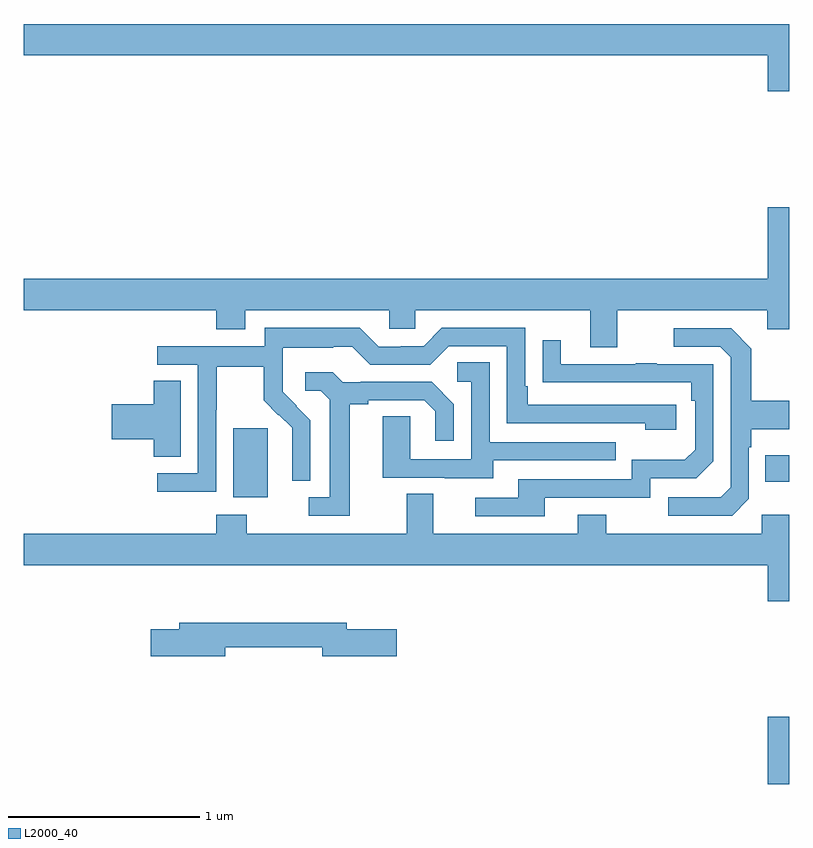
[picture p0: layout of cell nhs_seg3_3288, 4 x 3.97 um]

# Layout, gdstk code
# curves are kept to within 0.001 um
import gdstk
lib = gdstk.Library(unit=1e-6, precision=1e-09)
def R(c, l, rs):  # rectangles x0, y0, x1, y1
    for r in rs: c.add(gdstk.rectangle(r[:2], r[2:], *l))
def P(c, l, *ps):  # polygons
    for p in ps: c.add(gdstk.Polygon(p, *l))
L2000_40 = (2000, 40)

nhs_seg3_3288 = lib.new_cell('nhs_seg3_3288')
R(nhs_seg3_3288, L2000_40, [(284.888,738.4,285,738.751), (282.095,739.898,282.274,740.259), (284.875,739.979,285,740.119)])
P(nhs_seg3_3288, L2000_40, [(285,742.372),(281,742.372),(281,742.208),(284.888,742.208),(284.888,742.02),(285,742.02)],
  [(284.101,740.876),(284.885,740.876),(284.885,740.777),(285,740.777),(285,741.415),(284.888,741.415),(284.888,741.04),(281,741.04),(281,740.876),(282.005,740.876),(282.005,740.777),(282.157,740.777),(282.157,740.876),(282.909,740.876),(282.909,740.778),(283.047,740.778),(283.047,740.876),(283.961,740.876),(283.961,740.682),(284.101,740.682)],
  [(282.006,740.356),(282.009,740.356),(282.009,740.58),(282.253,740.58),(282.253,740.405),(282.33,740.328),(282.333,740.331),(282.404,740.261),(282.404,740.138),(282.402,740.138),(282.402,739.984),(282.498,739.984),(282.498,740.302),(282.352,740.45),(282.352,740.547),(282.354,740.547),(282.354,740.681),(282.617,740.681),(282.617,740.685),(282.717,740.685),(282.81,740.592),(283.125,740.592),(283.221,740.688),(283.524,740.688),(283.524,740.286),(284.249,740.286),(284.249,740.252),(284.41,740.252),(284.41,740.382),(283.633,740.382),(283.633,740.479),(283.62,740.479),(283.62,740.784),(283.185,740.784),(283.089,740.688),(282.971,740.688),(282.971,740.685),(282.855,740.685),(282.755,740.785),(282.258,740.785),(282.258,740.688),(281.697,740.688),(281.697,740.592),(281.91,740.592),(281.91,740.025),(281.697,740.025),(281.697,739.927),(282.006,739.927)],
  [(284.79,739.89),(284.79,740.159),(284.803,740.159),(284.803,740.255),(285,740.255),(285,740.403),(284.803,740.403),(284.803,740.675),(284.697,740.781),(284.397,740.781),(284.397,740.685),(284.64,740.685),(284.694,740.631),(284.694,739.95),(284.643,739.899),(284.367,739.899),(284.367,739.803),(284.703,739.803)],
  [(283.723,739.896),(284.274,739.896),(284.274,739.998),(284.514,739.998),(284.604,740.088),(284.604,740.595),(284.309,740.595),(284.309,740.6),(284.197,740.6),(284.197,740.595),(283.807,740.595),(283.807,740.719),(283.711,740.719),(283.711,740.5),(284.488,740.499),(284.488,740.402),(284.508,740.402),(284.508,740.148),(284.455,740.095),(284.178,740.095),(284.178,739.992),(283.583,739.992),(283.583,739.896),(283.359,739.896),(283.359,739.8),(283.723,739.8)],
  [(283.453,740.091),(284.093,740.091),(284.093,740.187),(283.434,740.187),(283.434,740.603),(283.266,740.603),(283.266,740.502),(283.338,740.502),(283.338,740.097),(283.02,740.097),(283.02,740.321),(282.875,740.321),(282.875,740.001),(283.199,740.001),(283.199,739.997),(283.453,739.997)],
  [(282.703,740.384),(282.799,740.384),(282.799,740.406),(283.094,740.406),(283.151,740.349),(283.151,740.193),(283.248,740.193),(283.248,740.386),(283.132,740.502),(282.76,740.502),(282.76,740.499),(282.666,740.499),(282.614,740.551),(282.471,740.551),(282.471,740.454),(282.552,740.454),(282.599,740.407),(282.599,739.899),(282.489,739.899),(282.489,739.803),(282.703,739.803)],
  [(281.821,740.507),(281.678,740.507),(281.678,740.384),(281.46,740.384),(281.46,740.201),(281.678,740.201),(281.678,740.11),(281.821,740.11)],
  [(285,739.807),(284.856,739.807),(284.856,739.708),(284.043,739.708),(284.043,739.807),(283.895,739.807),(283.895,739.708),(283.141,739.708),(283.141,739.916),(283.001,739.916),(283.001,739.708),(282.165,739.708),(282.165,739.807),(282.005,739.807),(282.005,739.708),(281,739.708),(281,739.544),(284.888,739.544),(284.888,739.356),(285,739.356)],
  [(282.052,739.114),(282.56,739.114),(282.56,739.067),(282.949,739.067),(282.949,739.209),(282.688,739.209),(282.688,739.243),(281.813,739.243),(281.813,739.209),(281.664,739.209),(281.664,739.067),(282.052,739.067)])

lib.write_gds('nhs_seg3_3288.gds')
